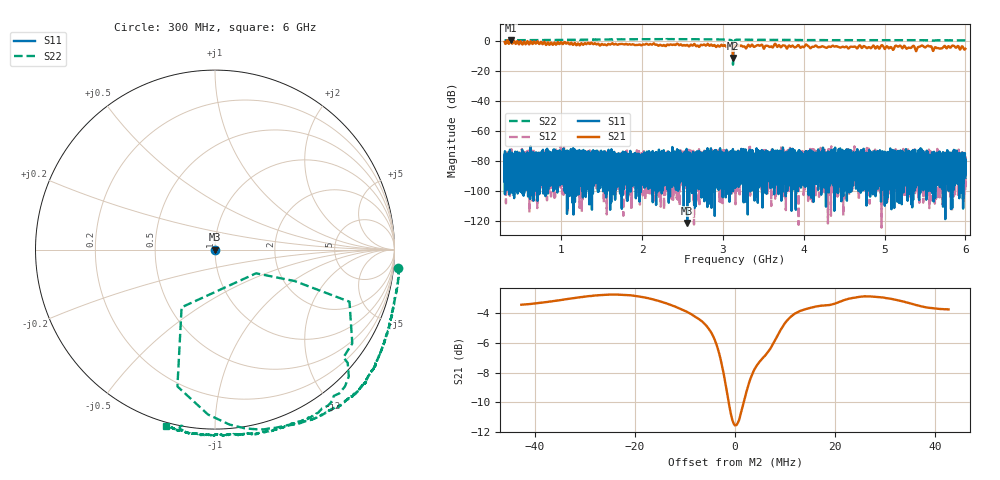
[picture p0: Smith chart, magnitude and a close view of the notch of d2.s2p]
!Agilent Technologies,N5230C,SG49000117,A.08.50.07
!Agilent N5230C: A.08.50.07
!Date: Sunday, March 17, 2024 09:01:59
!Correction: S11(Off)
!S21(Off)
!S12(Off)
!S22(Full 1 Port(2))
!S2P File: Measurements: S11, S21, S12, S22:
# Hz S  RI  R 50
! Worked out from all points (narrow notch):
!   20001 points, 300 MHz to 6 GHz, reference 50 ohm
!   highest |S21| = 0.47 dB at 374.4 MHz (marker M1); lowest = -11.6 dB at 3.124 GHz (marker M2)
!   notch at M2: 8.3 dB deep, 7.16 MHz wide at half that depth
!   lowest |S11| = -121.5 dB at 2.559 GHz (marker M3), VSWR 1.00, Z = 50 - j6.7e-05 ohm
!   |S11| at or under -10 dB: start of sweep to end of sweep
!   |S22| runs from -16.1 to 1.0 dB; largest |S21 - S12| = 1.1
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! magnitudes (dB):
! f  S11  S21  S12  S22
! 300 MHz  -83.4  -0.9  -82.9  0.2
! 374.4 MHz  -77.2  0.5  -78.0  0.3
! 1.25 GHz  -90.6  -1.7  -83.2  0.6
! 2.2 GHz  -76.2  -3.4  -79.7  1.0
! 2.559 GHz  -121.5  -2.9  -89.3  0.9
! 3.07 GHz  -80.0  -3.4  -79.4  0.6
! 3.124 GHz  -82.3  -11.6  -91.3  -12.0
! 3.15 GHz  -78.1  -2.8  -84.4  0.3
! 3.162 GHz  -79.1  -3.6  -77.4  0.4
! 3.193 GHz  -82.2  -3.1  -83.5  0.6
! 3.978 GHz  -82.4  -4.0  -79.9  0.4
! 4.037 GHz  -77.9  -2.9  -81.3  0.3
! 4.1 GHz  -81.0  -4.3  -83.9  0.3
! 5.05 GHz  -82.2  -5.1  -82.8  0.3
! 5.097 GHz  -83.5  -5.7  -88.8  0.3
! 5.17 GHz  -81.5  -4.0  -95.2  0.3
! 5.399 GHz  -80.4  -6.1  -82.1  0.3
! 5.447 GHz  -81.2  -3.7  -77.9  0.3
! 5.55 GHz  -91.2  -3.8  -83.0  0.2
! 5.616 GHz  -75.1  -5.1  -88.0  0.1
! 5.849 GHz  -77.2  -3.3  -75.4  0.2
! 6 GHz  -91.3  -5.5  -82.5  0.1
